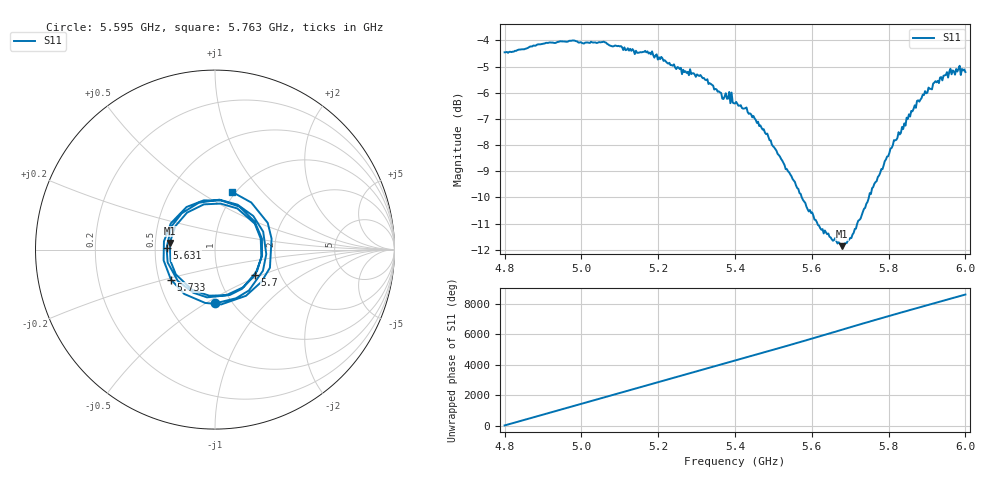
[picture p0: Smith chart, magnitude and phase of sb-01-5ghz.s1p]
! NanoVNA-App
! Date: 2026-05-22 17:30:44
! Start: 4.8GHz Stop: 6GHz Points: 401
! S-Parameter data: F S11
# Hz S RI R 50
!  Frequency  S11_Real  S11_Imag
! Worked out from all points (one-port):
!   401 points, 4.8 GHz to 6 GHz, reference 50 ohm
!   lowest |S11| = -11.9 dB at 5.679 GHz (marker M1), VSWR 1.69, Z = 29.8 + j2.32 ohm
!   |S11| at or under -10 dB: 5.574 GHz to 5.749 GHz (174.7 MHz wide, 3.09 % of centre)
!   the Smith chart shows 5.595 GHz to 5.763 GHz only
!   S11 on the Smith chart (normalised r, x): 5.595 GHz: 0.84, -0.55; 5.631 GHz: 0.58, +0.01; 5.7 GHz: 1.49, -0.46; 5.733 GHz: 0.58, -0.21; 5.763 GHz: 0.96, +0.70
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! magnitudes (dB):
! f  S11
! 4.8 GHz  -4.5
! 4.95 GHz  -4.0
! 5.058 GHz  -4.0
! 5.1 GHz  -4.2
! 5.145 GHz  -4.5
! 5.178 GHz  -4.5
! 5.25 GHz  -5.0
! 5.313 GHz  -5.4
! 5.367 GHz  -6.2
! 5.385 GHz  -6.0
! 5.4 GHz  -6.4
! 5.433 GHz  -6.7
! 5.481 GHz  -7.6
! 5.55 GHz  -9.3
! 5.595 GHz  -10.5
! 5.619 GHz  -11.1
! 5.631 GHz  -11.4
! 5.652 GHz  -11.6
! 5.679 GHz  -11.9
! 5.7 GHz  -11.5
! 5.733 GHz  -10.6
! 5.763 GHz  -9.5
! 5.811 GHz  -8.0
! 5.85 GHz  -7.0
! 5.88 GHz  -6.3
! 5.922 GHz  -5.6
! 5.964 GHz  -5.3
! 6 GHz  -5.2
